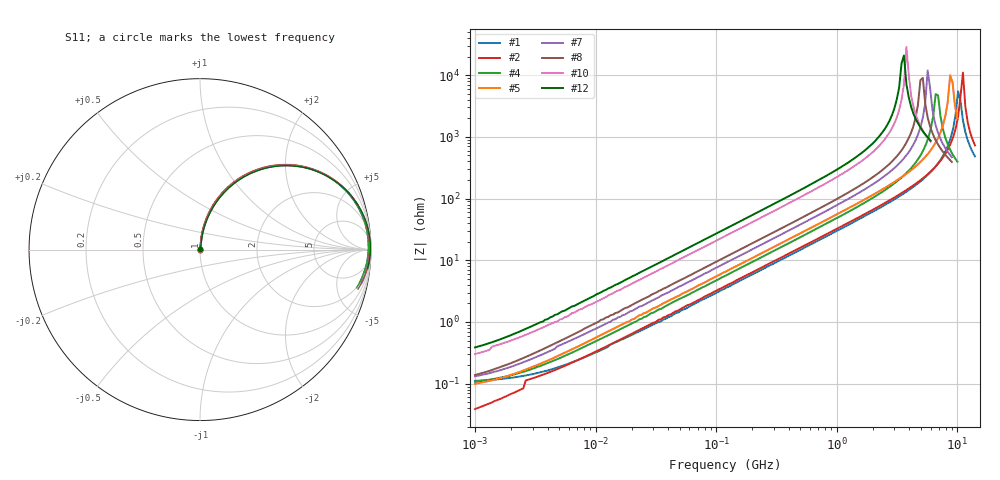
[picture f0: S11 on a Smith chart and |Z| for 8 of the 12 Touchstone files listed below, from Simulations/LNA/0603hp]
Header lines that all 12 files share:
# MHz S MA R 50
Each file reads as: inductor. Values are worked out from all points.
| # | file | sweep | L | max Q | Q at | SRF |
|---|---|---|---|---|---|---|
| 1 | 06HP4N7.s2p | 1 MHz to 14 GHz | 4.7 nH | 85.9 | 3.2 GHz | 10.14 GHz |
| 2 | 06HP5N1.s2p | 1 MHz to 14 GHz | 5.1 nH | 162 | 2.918 GHz | 10.62 GHz |
| 3 | 06HP7N2.s2p | 1 MHz to 10 GHz | 7.2 nH | 137 | 1.995 GHz | 7.244 GHz |
| 4 | 06HP7N5.s2p | 1 MHz to 10 GHz | 7.5 nH | 109 | 1.995 GHz | 6.607 GHz |
| 5 | 06HP8N7.s2p | 1 MHz to 10 GHz | 8.7 nH | 153 | 2.399 GHz | 8.71 GHz |
| 6 | 06HP10N.s2p | 1 MHz to 10 GHz | 10 nH | 128 | 1.445 GHz | 5.754 GHz |
| 7 | 06HP12N.s2p | 1 MHz to 9 GHz | 12 nH | 90.5 | 1.958 GHz | 5.669 GHz |
| 8 | 06HP15N.s2p | 1 MHz to 9 GHz | 15 nH | 115 | 1.417 GHz | 4.935 GHz |
| 9 | 06HP18N.s2p | 1 MHz to 8 GHz | 18 nH | 97.3 | 1.454 GHz | 4.602 GHz |
| 10 | 06HP33N.s2p | 1 MHz to 6 GHz | 33 nH | 83.5 | 1.303 GHz | 3.777 GHz |
| 11 | 06HP39N.s2p | 1 MHz to 6 GHz | 38.8 nH | 83.5 | 1.134 GHz | 3.607 GHz |
| 12 | 06HP43N.s2p | 1 MHz to 6 GHz | 43 nH | 87.2 | 1.188 GHz | 3.443 GHz |
